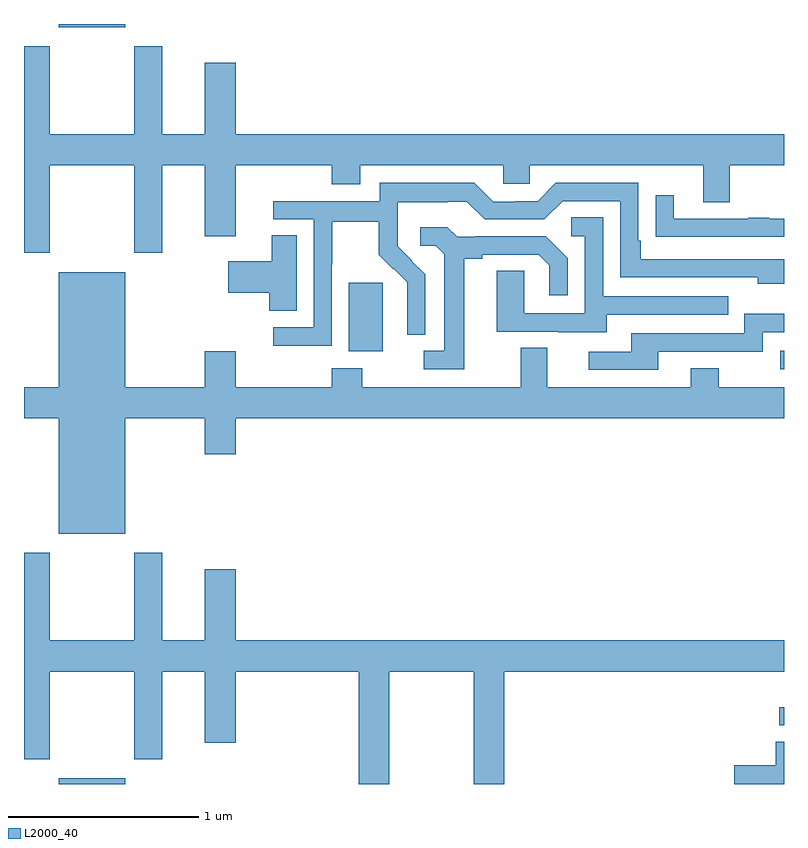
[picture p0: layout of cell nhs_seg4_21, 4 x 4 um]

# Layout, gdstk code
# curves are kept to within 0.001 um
import gdstk
lib = gdstk.Library(unit=1e-6, precision=1e-09)
def R(c, l, rs):  # rectangles x0, y0, x1, y1
    for r in rs: c.add(gdstk.rectangle(r[:2], r[2:], *l))
def P(c, l, *ps):  # polygons
    for p in ps: c.add(gdstk.Polygon(p, *l))
L2000_40 = (2000, 40)

nhs_seg4_21 = lib.new_cell('nhs_seg4_21')
R(nhs_seg4_21, L2000_40, [(111.182,790.9,111.532,790.93), (114.975,791.208,115,791.304), (114.981,793.083,115,793.179), (112.709,793.178,112.888,793.539), (111.182,794.882,111.532,794.9)])
P(nhs_seg4_21, L2000_40, [(111.135,794.156),(111.58,794.156),(111.58,793.695),(111.727,793.695),(111.727,794.156),(111.95,794.156),(111.95,793.782),(112.114,793.782),(112.114,794.156),(112.619,794.156),(112.619,794.057),(112.771,794.057),(112.771,794.156),(113.523,794.156),(113.523,794.058),(113.661,794.058),(113.661,794.156),(114.575,794.156),(114.575,793.962),(114.715,793.962),(114.715,794.156),(115,794.156),(115,794.32),(112.114,794.32),(112.114,794.695),(111.95,794.695),(111.95,794.32),(111.727,794.32),(111.727,794.782),(111.58,794.782),(111.58,794.32),(111.135,794.32),(111.135,794.782),(111,794.782),(111,793.695),(111.135,793.695)],
  [(112.62,793.636),(112.623,793.636),(112.623,793.86),(112.867,793.86),(112.867,793.685),(112.944,793.608),(112.947,793.611),(113.018,793.541),(113.018,793.418),(113.016,793.418),(113.016,793.264),(113.112,793.264),(113.112,793.582),(112.966,793.73),(112.966,793.827),(112.968,793.827),(112.968,793.961),(113.231,793.961),(113.231,793.965),(113.331,793.965),(113.424,793.872),(113.739,793.872),(113.835,793.968),(114.138,793.968),(114.138,793.566),(114.863,793.566),(114.863,793.532),(115,793.532),(115,793.662),(114.247,793.662),(114.247,793.759),(114.234,793.759),(114.234,794.064),(113.799,794.064),(113.703,793.968),(113.585,793.968),(113.585,793.965),(113.469,793.965),(113.369,794.065),(112.872,794.065),(112.872,793.968),(112.311,793.968),(112.311,793.872),(112.524,793.872),(112.524,793.305),(112.311,793.305),(112.311,793.207),(112.62,793.207)],
  [(115,793.875),(114.923,793.875),(114.923,793.88),(114.811,793.88),(114.811,793.875),(114.421,793.875),(114.421,793.999),(114.325,793.999),(114.325,793.78),(114.427,793.78),(114.427,793.779),(115,793.779)],
  [(114.067,793.371),(114.707,793.371),(114.707,793.467),(114.048,793.467),(114.048,793.883),(113.88,793.883),(113.88,793.782),(113.952,793.782),(113.952,793.377),(113.634,793.377),(113.634,793.601),(113.489,793.601),(113.489,793.281),(113.813,793.281),(113.813,793.277),(114.067,793.277)],
  [(113.317,793.664),(113.413,793.664),(113.413,793.686),(113.708,793.686),(113.765,793.629),(113.765,793.473),(113.862,793.473),(113.862,793.666),(113.746,793.782),(113.374,793.782),(113.374,793.779),(113.28,793.779),(113.228,793.831),(113.085,793.831),(113.085,793.734),(113.166,793.734),(113.213,793.687),(113.213,793.179),(113.103,793.179),(113.103,793.083),(113.317,793.083)],
  [(112.435,793.787),(112.304,793.787),(112.304,793.651),(112.074,793.651),(112.074,793.486),(112.292,793.486),(112.292,793.39),(112.435,793.39)],
  [(111.532,792.824),(111.95,792.824),(111.95,792.636),(112.114,792.636),(112.114,792.824),(115,792.824),(115,792.988),(114.657,792.988),(114.657,793.087),(114.509,793.087),(114.509,792.988),(113.755,792.988),(113.755,793.196),(113.615,793.196),(113.615,792.988),(112.779,792.988),(112.779,793.087),(112.619,793.087),(112.619,792.988),(112.114,792.988),(112.114,793.177),(111.95,793.177),(111.95,792.988),(111.532,792.988),(111.532,793.594),(111.182,793.594),(111.182,792.988),(111,792.988),(111,792.824),(111.182,792.824),(111.182,792.218),(111.532,792.218)],
  [(114.337,793.176),(114.888,793.176),(114.888,793.278),(115,793.278),(115,793.375),(114.792,793.375),(114.792,793.272),(114.197,793.272),(114.197,793.176),(113.973,793.176),(113.973,793.08),(114.337,793.08)],
  [(112.923,791.492),(113.368,791.492),(113.368,790.9),(113.528,790.9),(113.528,791.492),(115,791.492),(115,791.656),(112.114,791.656),(112.114,792.031),(111.95,792.031),(111.95,791.656),(111.727,791.656),(111.727,792.118),(111.58,792.118),(111.58,791.656),(111.135,791.656),(111.135,792.118),(111,792.118),(111,791.031),(111.135,791.031),(111.135,791.492),(111.58,791.492),(111.58,791.031),(111.727,791.031),(111.727,791.492),(111.95,791.492),(111.95,791.118),(112.114,791.118),(112.114,791.492),(112.763,791.492),(112.763,790.9),(112.923,790.9)],
  [(115,791.123),(114.956,791.123),(114.956,791),(114.738,791),(114.738,790.9),(115,790.9)])

lib.write_gds('nhs_seg4_21.gds')
